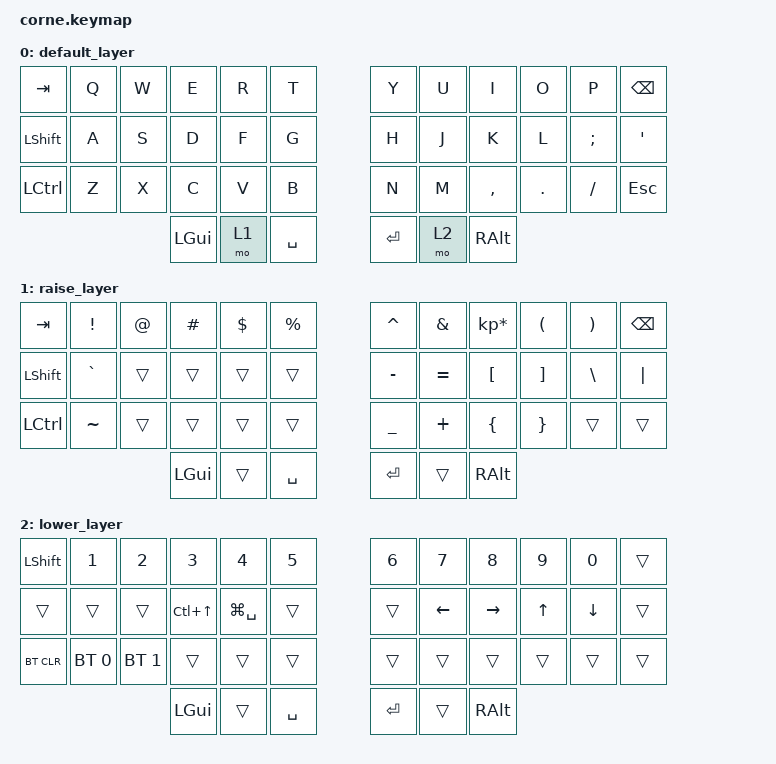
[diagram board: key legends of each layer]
/*
 * Copyright (c) 2020 The ZMK Contributors
 *
 * SPDX-License-Identifier: MIT
 */

#include <behaviors.dtsi>
#include <dt-bindings/zmk/keys.h>
#include <dt-bindings/zmk/bt.h>

/ {
        keymap {
                compatible = "zmk,keymap";

                default_layer {
// ----------------------------------------------------------------------------------------- 0
// |  TAB |  Q  |  W  |  E  |  R  |  T  |   |  Y  |  U   |  I  |  O  |  P  | BKSP |
// | SHFT |  A  |  S  |  D  |  F  |  G  |   |  H  |  J   |  K  |  L  |  ;  |  '   |
// | CTRL |  Z  |  X  |  C  |  V  |  B  |   |  N  |  M   |  ,  |  .  |  /  | ESC  |
//                    | GUI | LWR | SPC |   | ENT | RSE  | ALT |
                        bindings = <
   &kp TAB   &kp Q &kp W &kp E &kp R &kp T   &kp Y &kp U  &kp I     &kp O   &kp P    &kp BSPC
   &kp LSHFT &kp A &kp S &kp D &kp F &kp G   &kp H &kp J  &kp K     &kp L   &kp SEMI &kp SQT
   &kp LCTRL &kp Z &kp X &kp C &kp V &kp B   &kp N &kp M  &kp COMMA &kp DOT &kp FSLH &kp ESC
                  &kp LGUI &mo 1 &kp SPACE   &kp RET &mo 2 &kp RALT
                        >;
                };

                raise_layer {
// ----------------------------------------------------------------------------------------- 1
// |  TAB |  !  |  @  |  #  |  $  |  %  |   |  ^  |  &  |  *  |  (  |  )  | BKSP | 
// | SHFT |  `  |     |     |     |     |   |  -  |  =  |  [  |  ]  |  \  |  "|" |
// | CTRL |  ~  |     |     |     |     |   |  _  |  +  |  {  |  }  |     |      |
//                    | GUI |     | SPC |   | ENT |     | ALT |
                        bindings = <
   &kp  TAB  &kp EXCL  &kp AT &kp HASH &kp DLLR &kp PRCNT    &kp CARET &kp AMPS  &kp KP_MULTIPLY &kp LPAR &kp RPAR &kp BSPC
   &kp LSHFT &kp GRAVE &trans &trans   &trans   &trans       &kp MINUS &kp EQUAL &kp LBKT        &kp RBKT &kp BSLH &kp PIPE
   &kp LCTRL &kp TILDE &trans &trans   &trans   &trans       &kp UNDER &kp PLUS  &kp LBRC        &kp RBRC &trans   &trans
                              &kp LGUI &trans   &kp SPACE    &kp RET   &trans    &kp RALT
                        >;
                };

                lower_layer {
// ----------------------------------------------------------------------------------------- 2
// | SHFT |  1  |  2  |  3  |  4  |  5  |   |  6  |  7  |  8  |  9  |  0  |     |
// |      |     |     | MiC | TaL |     |   |     | LFT | RGT |  UP | DWN |     |
// | BTCLR| BT1 | BT2 |     |     |     |   |     |     |     |     |     |     |
//                    | GUI |     | SPC |   | ENT |     | ALT |
                        bindings = <
   &kp LSHFT   &kp N1       &kp N2        &kp N3     &kp N4         &kp N5         &kp N6    &kp N7    &kp N8     &kp N9   &kp N0    &trans
   &trans      &trans       &trans        &kp LC(UP) &kp LG(SPACE)  &trans         &trans    &kp LEFT  &kp RIGHT  &kp UP   &kp DOWN  &trans
   &bt BT_CLR  &bt BT_SEL 0 &bt BT_SEL 1  &trans     &trans         &trans         &trans    &trans    &trans     &trans   &trans    &trans
                                          &kp LGUI   &trans         &kp SPACE      &kp RET   &trans    &kp RALT
                        >;
                };
        };
};
